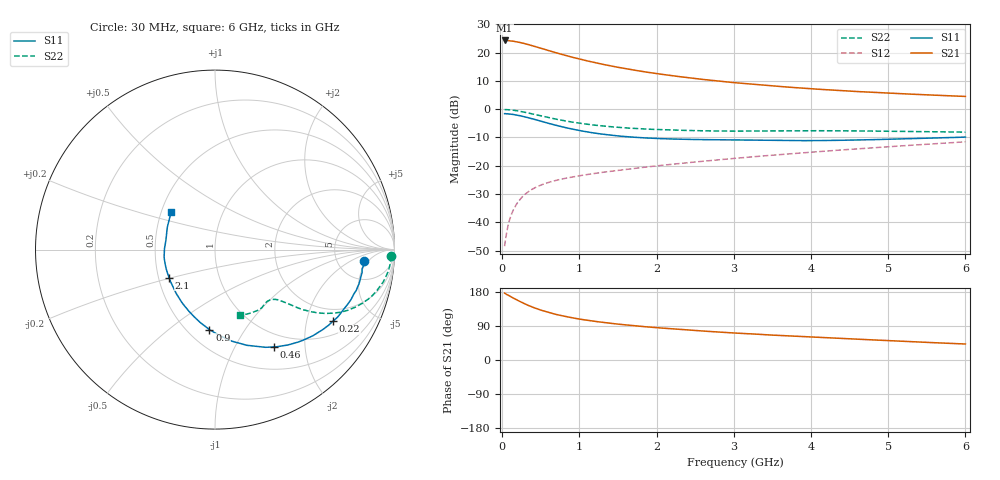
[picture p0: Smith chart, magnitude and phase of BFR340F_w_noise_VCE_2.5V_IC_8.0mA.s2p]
! Infineon Technologies  Discrete & RF Semiconductors
! BFR340F
! VCE =  2.5 V,  IC =  8.0 mA
! Common Emitter S-Parameters:  Nov 2015
# GHz  S  MA  R  50
!  f  S11  S21  S12  S22
! GHz  MAG  ANG  MAG  ANG  MAG  ANG  MAG  ANG
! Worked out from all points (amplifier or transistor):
!   206 points, 30 MHz to 6 GHz, reference 50 ohm
!   highest |S21| = 24.3 dB at 30 MHz (marker M1)
!   |S21| within 3 dB of that: start of sweep to 529.7 MHz
!   unconditionally stable (mu >= 1): 2.281 GHz to 5.339 GHz
!   at 200 MHz: K = 0.17, MSG = 28.3 dB, |S12| = -32.9 dB
!   at 1.56 GHz: K = 0.88, MSG = 18.0 dB, |S12| = -21.4 dB
!   at 6 GHz: K = 0.97, MSG = 8.0 dB, |S12| = -11.5 dB
!   lowest NFmin = 1.32 dB at 450 MHz
!   S11 on the Smith chart (normalised r, x): 30 MHz: 9, -4; 220 MHz: 1.48, -2.89; 460 MHz: 0.80, -1.46; 900 MHz: 0.63, -0.71; 2.1 GHz: 0.57, -0.19; 6 GHz: 0.56, +0.26
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0.03  0.8318 -4.4  16.33 176.6  0.0038 86.9  0.9824 -2.1
0.05  0.8261 -7.5  16.21 173.6  0.0058 86.9  0.9806 -3.6
0.07  0.8266 -10.4  16.26 171.5  0.0083 85.3  0.9783 -5.1
0.12  0.8126 -17.6  15.97 166.1  0.0141 81.1  0.9651 -8.9
0.165  0.7941 -23.8  15.61 161.0  0.0189 78.1  0.9465 -11.9
0.22  0.7691 -31.2  15.12 155.3  0.0245 74.6  0.92 -15.4
0.28  0.7367 -38.9  14.48 149.3  0.03 71.3  0.8869 -18.8
0.34  0.7032 -46.0  13.78 143.8  0.035 68.4  0.8515 -21.8
0.46  0.6347 -58.7  12.35 134.4  0.0432 64.0  0.7814 -26.5
0.6  0.5615 -71.7  10.82 125.3  0.0509 60.6  0.7074 -30.2
0.7  0.517 -79.9  9.864 120.0  0.0554 59.2  0.6627 -32.0
0.9  0.4468 -94.0  8.302 111.5  0.0631 57.6  0.5921 -34.4
1.04  0.4095 -102.6  7.445 106.7  0.068 57.5  0.5551 -35.3
1.28  0.364 -115.8  6.28 99.8  0.0759 57.8  0.5077 -36.5
1.5  0.3359 -126.4  5.479 94.6  0.083 58.5  0.4773 -37.4
2.02  0.3027 -146.1  4.207 85.0  0.1001 60.7  0.4362 -39.5
2.1  0.2998 -148.7  4.064 83.8  0.1028 61.0  0.4324 -39.9
2.6  0.2896 -163.1  3.346 76.4  0.1201 62.6  0.4141 -42.8
3.1  0.2849 -173.6  2.863 70.3  0.1385 63.8  0.4094 -46.0
4.1  0.2785 168.8  2.244 59.8  0.1777 64.9  0.4157 -52.0
5.1  0.2959 152.8  1.891 50.2  0.2211 64.7  0.4062 -60.2
6  0.3209 139.1  1.676 42.2  0.2649 63.4  0.3925 -68.8
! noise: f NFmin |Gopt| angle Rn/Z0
0.45  1.32  0.34  1  0.29
0.9  1.37  0.33  10  0.32
1.9  1.68  0.2  6  0.3
2.4  1.87  0.15  18  0.3
